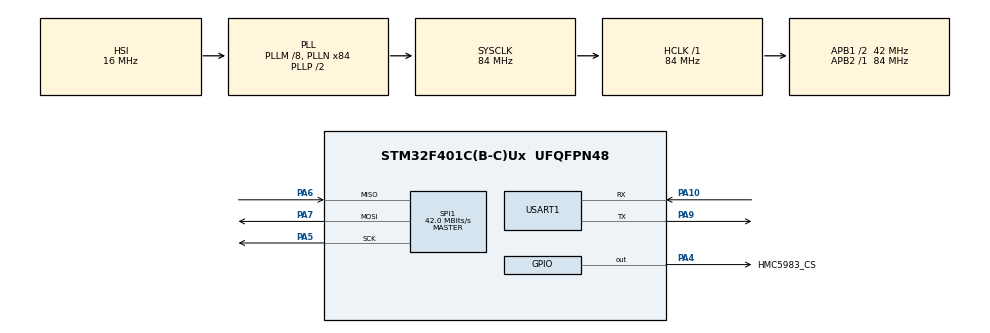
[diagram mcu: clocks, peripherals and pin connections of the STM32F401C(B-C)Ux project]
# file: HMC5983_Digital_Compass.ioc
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Mcu.Family=STM32F4
Mcu.Name=STM32F401C(B-C)Ux
Mcu.Package=UFQFPN48
NVIC.PriorityGroup=NVIC_PRIORITYGROUP_4
PA10.Mode=Asynchronous
PA10.Signal=USART1_RX
PA13.Mode=Serial_Wire
PA13.Signal=SYS_JTMS-SWDIO
PA14.Mode=Serial_Wire
PA14.Signal=SYS_JTCK-SWCLK
PA4.GPIO_Label=HMC5983_CS
PA4.Signal=GPIO_Output
PA5.Mode=Full_Duplex_Master
PA5.Signal=SPI1_SCK
PA6.Mode=Full_Duplex_Master
PA6.Signal=SPI1_MISO
PA7.Mode=Full_Duplex_Master
PA7.Signal=SPI1_MOSI
PA9.Mode=Asynchronous
PA9.Signal=USART1_TX
PH0\ -\ OSC_IN.Mode=HSE-External-Oscillator
PH0\ -\ OSC_IN.Signal=RCC_OSC_IN
PH1\ -\ OSC_OUT.Mode=HSE-External-Oscillator
PH1\ -\ OSC_OUT.Signal=RCC_OSC_OUT
ProjectManager.HeapSize=0x200
ProjectManager.StackSize=0x400
ProjectManager.TargetToolchain=STM32CubeIDE
RCC.48MHZClocksFreq_Value=42000000
RCC.AHBFreq_Value=84000000
RCC.APB1CLKDivider=RCC_HCLK_DIV2
RCC.APB1Freq_Value=42000000
RCC.APB1TimFreq_Value=84000000
RCC.APB2Freq_Value=84000000
RCC.APB2TimFreq_Value=84000000
RCC.CortexFreq_Value=84000000
RCC.HCLKFreq_Value=84000000
RCC.HSE_VALUE=25000000
RCC.HSI_VALUE=16000000
RCC.LSE_VALUE=32768
RCC.PLLM=8
RCC.PLLN=84
RCC.SYSCLKFreq_VALUE=84000000
RCC.SYSCLKSource=RCC_SYSCLKSOURCE_PLLCLK
RCC.VCOOutputFreq_Value=168000000
SPI1.CalculateBaudRate=42.0 MBits/s
SPI1.Direction=SPI_DIRECTION_2LINES
SPI1.Mode=SPI_MODE_MASTER
SPI1.VirtualType=VM_MASTER
USART1.VirtualMode=VM_ASYNC
board=custom

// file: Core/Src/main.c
/* USER CODE BEGIN Header */
/**
 ******************************************************************************
 * @file           : main.c
 * @brief          : Main program body
 ******************************************************************************
 * @attention
 *
 * Copyright (c) 2025 STMicroelectronics.
 * All rights reserved.
 *
 * This software is licensed under terms that can be found in the LICENSE file
 * in the root directory of this software component.
 * If no LICENSE file comes with this software, it is provided AS-IS.
 *
 ******************************************************************************
 */
/* USER CODE END Header */
#include "main.h"
#include <math.h>
#include <stdio.h>
#include <string.h>

#include "HMC5983.h"

/* USER CODE BEGIN PTD */
// variables for receiving DATA
// adresses
// HMC5883l - ADDRESS
#define HMC5883l_ADDRESS (0x1E << 1)
// CONTROL REG A
#define HMC5883l_Enable_A (0x78)
// CONTROL REG B
#define HMC5883l_Enable_B (0xA0)
// MODE REGISTER
#define HMC5883l_MR (0x00)
// HMC5883l - MSB / LSB ADDRESSES
#define HMC5883l_ADD_DATAX_MSB (0x03)
#define HMC5883l_ADD_DATAX_LSB (0x04)
#define HMC5883l_ADD_DATAZ_MSB (0x05)
#define HMC5883l_ADD_DATAZ_LSB (0x06)
#define HMC5883l_ADD_DATAY_MSB (0x07)
#define HMC5883l_ADD_DATAY_LSB (0x08)
// SUM (MSB + LSB) DEFINE
#define HMC5883l_ADD_DATAX_MSB_MULTI (HMC5883l_ADD_DATAX_MSB | 0x80)
#define HMC5883l_ADD_DATAY_MSB_MULTI (HMC5883l_ADD_DATAY_MSB | 0x80)
#define HMC5883l_ADD_DATAZ_MSB_MULTI (HMC5883l_ADD_DATAZ_MSB | 0x80)

static Register_A_ Register_A;
static Register_B_ Register_B;
static Register_Mode_ Register_Mode;

uint8_t Register_A_Value = 0;
uint8_t Register_B_Value = 0;
uint8_t Register_Mode_Value = 0;

uint8_t HMC5983_Init_OK = 0;
uint8_t Read_Data_Register = 0xC3;

uint8_t buffer[6];
int16_t Raw_X;
int16_t Raw_Y;
int16_t Raw_Z;

float mG_X;
float mG_Y;
float mG_Z;

float uT_X;
float uT_Y;
float uT_Z;

int16_t raw_mG_X;
int16_t raw_mG_Y;
int16_t raw_mG_Z;

char sendData[100];

float heading;
float heading_cal;
float magnetic_declination = -9.76;

uint8_t a;
/* USER CODE END PTD */

SPI_HandleTypeDef hspi1;

UART_HandleTypeDef huart1;

void SystemClock_Config(void);
static void MX_GPIO_Init(void);
static void MX_USART1_UART_Init(void);
static void MX_SPI1_Init(void);

int main(void)
{

	/* MCU Configuration--------------------------------------------------------*/

	/* Reset of all peripherals, Initializes the Flash interface and the Systick. */
	HAL_Init();

	/* Configure the system clock */
	SystemClock_Config();

	/* Initialize all configured peripherals */
	MX_GPIO_Init();
	MX_USART1_UART_Init();
	MX_SPI1_Init();
	/* USER CODE BEGIN 2 */

	//Set HMC5983 register values
	Register_A.Set_Temperature_Sensor = Set_Temperature_Sensor_Off;
	Register_A.Set_Sample_Average = Sample_Avarage_8;
	Register_A.Set_OutputRate = OutpuRate_15;
	Register_A.Set_Measurement_Mode = Measurement_Mode_Normal;

	Register_B.Set_Gain = Set_Gain_4P7;
	Register_B.Set_Scale = Scale_4P7;

	Register_Mode.Set_I2C_HighSpeed = Set_I2C_HighSpeed_Off;
	Register_Mode.Set_Lowest_Power_Mod = Set_Lowest_Power_Mod_Off;
	Register_Mode.Set_SPI_Mode_Selection = SPI_Mode_Selection_4Wire;
	Register_Mode.Set_Operating_Mode = Operating_Mode_Continuous_Measurement;

	//Set HMC5983 Regiter A, Rgister B, Mode Register
	Register_A_Value = Set_Register_A(Register_A.Set_Temperature_Sensor, Register_A.Set_Sample_Average, Register_A.Set_OutputRate, Register_A.Set_Measurement_Mode);
	Register_B_Value = Set_Register_B(Register_B.Set_Gain);
	Register_Mode_Value = Set_Mode_Register(Register_Mode.Set_I2C_HighSpeed, Register_Mode.Set_Lowest_Power_Mod, Register_Mode.Set_SPI_Mode_Selection, Register_Mode.Set_Operating_Mode);

	//Initilaziton HMC5983
	HMC5983_Init_OK = HMC5983_Init(&hspi1, HMC5983_CONF_A, Register_A_Value, HMC5983_CONF_B, Register_B_Value, HMC5983_MODE, Register_Mode_Value);

	//Hard Iron Calibration Settings
	//Calculate from MotionCal Magnetic Calibration Tool
	const float hard_iron[3] = { 7.06, -5.32, 4.93 };

	//Soft Iron Calibration Settings
	//Calculate from MotionCal Magnetic Calibration Tool
	const float soft_iron[3][3] = { { 0.974, 0.016, 0.026 }, { 0.016, 0.988, -0.009 }, { 0.026, -0.009, 1.040 } };

	/* USER CODE END 2 */

	/* Infinite loop */
	while (1)
	{

		static float hi_cal[3];
		float mag_data[] = { uT_X, uT_Y, uT_Z }; //Calibated magnetometer value
		/* USER CODE BEGIN 3 */

		HAL_GPIO_WritePin(HMC5983_CS_GPIO_Port, HMC5983_CS_Pin, GPIO_PIN_RESET);
		HAL_SPI_Transmit(&hspi1, &Read_Data_Register, 1, 100);
		HAL_SPI_Receive(&hspi1, buffer, 6, 100);
		HAL_GPIO_WritePin(HMC5983_CS_GPIO_Port, HMC5983_CS_Pin, GPIO_PIN_SET);
		Raw_X = ((buffer[0] << 8) | buffer[1]); //X
		Raw_Z = ((buffer[2] << 8) | buffer[3]); //Z
		Raw_Y = ((buffer[4] << 8) | buffer[5]); //Y

		mG_X = Raw_X * Register_B.Set_Scale; //mGauss Value
		mG_Y = Raw_Y * Register_B.Set_Scale; //mGauss Value
		mG_Z = Raw_Z * Register_B.Set_Scale; //mGauss Value

		//For motionCal Program
		//Non calibrated magnetometer values (mGauss unit)
		raw_mG_X = mG_X; //int type of mG value
		raw_mG_Y = mG_Y; //int type of mG value
		raw_mG_Z = mG_Z; //int type of mG value

		//Non calibrated magnetometer values (uT unit).
		uT_X = mG_X / 10.00;
		uT_Y = mG_Y / 10.00;
		uT_Z = mG_Z / 10.00;

		sprintf(sendData, "Raw:0,0,0,0,0,0,%d,%d,%d\r\n", raw_mG_X, raw_mG_Y, raw_mG_Z);
		//sprintf(sendData, "%.2f,%.2f,%.2f\r\n", uT_X, uT_Y, uT_Z);
		HAL_UART_Transmit(&huart1, (uint8_t*) sendData, strlen(sendData), 1000);
		heading = atan2(uT_Y, uT_X);

		if (heading < 0)
		{
			heading += 2 * M_PI;
		}
		heading = heading * 180 / M_PI;

		//Apply Hard iron offsets
		for (int i = 0; i < 3; i++)
		{
			hi_cal[i] = mag_data[i] - hard_iron[i];
		}

//	  //Apply soft iron scaling
		for (int i = 0; i < 3; i++)
		{
			mag_data[i] = (soft_iron[i][0] * hi_cal[0]) + (soft_iron[i][1] * hi_cal[1]) + (soft_iron[i][2] * hi_cal[2]);
		}

		heading_cal = atan2(mag_data[1], mag_data[0]);
		heading_cal = (heading_cal * 180 / M_PI) + magnetic_declination;

		if (heading_cal < 0)
		{
			heading_cal += 2 * M_PI;
		}

		HAL_Delay(10);

	}
	/* USER CODE END 3 */
}

void SystemClock_Config(void)
{
	RCC_OscInitTypeDef RCC_OscInitStruct = { 0 };
	RCC_ClkInitTypeDef RCC_ClkInitStruct = { 0 };

	/** Configure the main internal regulator output voltage
	 */
	__HAL_RCC_PWR_CLK_ENABLE();
	__HAL_PWR_VOLTAGESCALING_CONFIG(PWR_REGULATOR_VOLTAGE_SCALE2);

	/** Initializes the RCC Oscillators according to the specified parameters
	 * in the RCC_OscInitTypeDef structure.
	 */
	RCC_OscInitStruct.OscillatorType = RCC_OSCILLATORTYPE_HSI;
	RCC_OscInitStruct.HSIState = RCC_HSI_ON;
	RCC_OscInitStruct.HSICalibrationValue = RCC_HSICALIBRATION_DEFAULT;
	RCC_OscInitStruct.PLL.PLLState = RCC_PLL_ON;
	RCC_OscInitStruct.PLL.PLLSource = RCC_PLLSOURCE_HSI;
	RCC_OscInitStruct.PLL.PLLM = 8;
	RCC_OscInitStruct.PLL.PLLN = 84;
	RCC_OscInitStruct.PLL.PLLP = RCC_PLLP_DIV2;
	RCC_OscInitStruct.PLL.PLLQ = 4;
	if (HAL_RCC_OscConfig(&RCC_OscInitStruct) != HAL_OK)
	{
		Error_Handler();
	}

	/** Initializes the CPU, AHB and APB buses clocks
	 */
	RCC_ClkInitStruct.ClockType = RCC_CLOCKTYPE_HCLK | RCC_CLOCKTYPE_SYSCLK | RCC_CLOCKTYPE_PCLK1 | RCC_CLOCKTYPE_PCLK2;
	RCC_ClkInitStruct.SYSCLKSource = RCC_SYSCLKSOURCE_PLLCLK;
	RCC_ClkInitStruct.AHBCLKDivider = RCC_SYSCLK_DIV1;
	RCC_ClkInitStruct.APB1CLKDivider = RCC_HCLK_DIV2;
	RCC_ClkInitStruct.APB2CLKDivider = RCC_HCLK_DIV1;

	if (HAL_RCC_ClockConfig(&RCC_ClkInitStruct, FLASH_LATENCY_2) != HAL_OK)
	{
		Error_Handler();
	}
}

static void MX_SPI1_Init(void)
{

	/* SPI1 parameter configuration*/
	hspi1.Instance = SPI1;
	hspi1.Init.Mode = SPI_MODE_MASTER;
	hspi1.Init.Direction = SPI_DIRECTION_2LINES;
	hspi1.Init.DataSize = SPI_DATASIZE_8BIT;
	hspi1.Init.CLKPolarity = SPI_POLARITY_LOW;
	hspi1.Init.CLKPhase = SPI_PHASE_1EDGE;
	hspi1.Init.NSS = SPI_NSS_SOFT;
	hspi1.Init.BaudRatePrescaler = SPI_BAUDRATEPRESCALER_2;
	hspi1.Init.FirstBit = SPI_FIRSTBIT_MSB;
	hspi1.Init.TIMode = SPI_TIMODE_DISABLE;
	hspi1.Init.CRCCalculation = SPI_CRCCALCULATION_DISABLE;
	hspi1.Init.CRCPolynomial = 10;
	if (HAL_SPI_Init(&hspi1) != HAL_OK)
	{
		Error_Handler();
	}

}

static void MX_USART1_UART_Init(void)
{

	huart1.Instance = USART1;
	huart1.Init.BaudRate = 115200;
	huart1.Init.WordLength = UART_WORDLENGTH_8B;
	huart1.Init.StopBits = UART_STOPBITS_1;
	huart1.Init.Parity = UART_PARITY_NONE;
	huart1.Init.Mode = UART_MODE_TX_RX;
	huart1.Init.HwFlowCtl = UART_HWCONTROL_NONE;
	huart1.Init.OverSampling = UART_OVERSAMPLING_16;
	if (HAL_UART_Init(&huart1) != HAL_OK)
	{
		Error_Handler();
	}

}

static void MX_GPIO_Init(void)
{
	GPIO_InitTypeDef GPIO_InitStruct = { 0 };

	/* GPIO Ports Clock Enable */
	__HAL_RCC_GPIOH_CLK_ENABLE();
	__HAL_RCC_GPIOA_CLK_ENABLE();

	/*Configure GPIO pin Output Level */
	HAL_GPIO_WritePin(HMC5983_CS_GPIO_Port, HMC5983_CS_Pin, GPIO_PIN_RESET);

	/*Configure GPIO pin : HMC5983_CS_Pin */
	GPIO_InitStruct.Pin = HMC5983_CS_Pin;
	GPIO_InitStruct.Mode = GPIO_MODE_OUTPUT_PP;
	GPIO_InitStruct.Pull = GPIO_NOPULL;
	GPIO_InitStruct.Speed = GPIO_SPEED_FREQ_LOW;
	HAL_GPIO_Init(HMC5983_CS_GPIO_Port, &GPIO_InitStruct);

}

void Error_Handler(void)
{
	__disable_irq();
	while (1)
	{
	}
}
